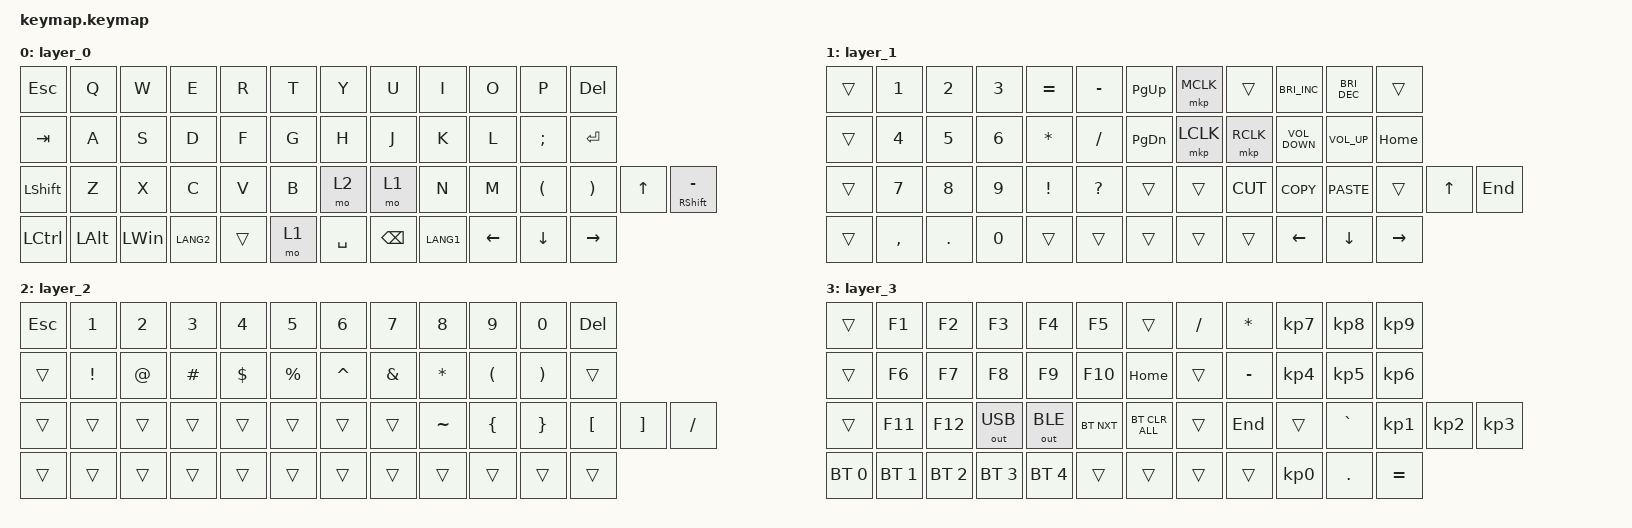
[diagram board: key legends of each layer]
#include <behaviors.dtsi>
#include <dt-bindings/zmk/bt.h>
#include <dt-bindings/zmk/keys.h>
#include <dt-bindings/zmk/outputs.h>
#include <dt-bindings/zmk/pointing.h>

/ {
    combos {
        compatible = "zmk,combos";

        bt_clear {
            bindings = <&bt BT_CLR>;
            key-positions = <28 29 11>;
            layers = <2>;
        };
    };

    keymap {
        compatible = "zmk,keymap";

        layer_0 {
            bindings = <
&kp ESC           &kp Q         &kp W         &kp E      &kp R   &kp T  &kp Y      &kp U          &kp I      &kp O           &kp P                 &kp DEL
&kp TAB           &kp A         &kp S         &kp D      &kp F   &kp G  &kp H      &kp J          &kp K      &kp L           &kp SEMI              &kp ENTER
&kp LSHFT         &kp Z         &kp X         &kp C      &kp V   &kp B  &mo 2      &mo 1          &kp N      &kp M           &kp LEFT_PARENTHESIS  &kp RIGHT_PARENTHESIS  &kp UP_ARROW  &mt RSHFT MINUS
&kp LEFT_CONTROL  &kp LEFT_ALT  &kp LEFT_WIN  &kp LANG2  &trans  &mo 1  &kp SPACE  &kp BACKSPACE  &kp LANG1  &kp LEFT_ARROW  &kp DOWN_ARROW        &kp RIGHT_ARROW
            >;
        };

        layer_1 {
            bindings = <
&trans  &kp NUMBER_1  &kp NUMBER_2  &kp NUMBER_3  &kp EQUAL        &kp MINUS     &kp PAGE_UP    &mkp MCLK  &trans     &kp C_BRIGHTNESS_INC  &kp C_BRIGHTNESS_DEC  &trans
&trans  &kp NUMBER_4  &kp N5        &kp NUMBER_6  &kp ASTERISK     &kp SLASH     &kp PAGE_DOWN  &mkp LCLK  &mkp RCLK  &kp C_VOLUME_DOWN     &kp C_VOLUME_UP       &kp HOME
&trans  &kp N7        &kp N8        &kp N9        &kp EXCLAMATION  &kp QUESTION  &trans         &trans     &kp K_CUT  &kp K_COPY            &kp K_PASTE           &trans     &kp UP  &kp END
&trans  &kp COMMA     &kp PERIOD    &kp NUMBER_0  &trans           &trans        &trans         &trans     &trans     &kp LEFT_ARROW        &kp DOWN_ARROW        &kp RIGHT
            >;
        };

        layer_2 {
            bindings = <
&kp ESCAPE  &kp N1    &kp N2  &kp N3    &kp N4      &kp N5     &kp N6     &kp N7         &kp N8     &kp N9                &kp N0                 &kp DELETE
&trans      &kp EXCL  &kp AT  &kp HASH  &kp DOLLAR  &kp PRCNT  &kp CARET  &kp AMPERSAND  &kp ASTRK  &kp LEFT_PARENTHESIS  &kp RIGHT_PARENTHESIS  &trans
&trans      &trans    &trans  &trans    &trans      &trans     &trans     &trans         &kp TILDE  &kp LEFT_BRACE        &kp RIGHT_BRACE        &kp LEFT_BRACKET  &kp RIGHT_BRACKET  &kp SLASH
&trans      &trans    &trans  &trans    &trans      &trans     &trans     &trans         &trans     &trans                &trans                 &trans
            >;
        };

        layer_3 {
            bindings = <
&trans        &kp F1        &kp F2        &kp F3        &kp F4        &kp F5      &trans          &kp FSLH  &kp ASTRK  &kp KP_NUMBER_7  &kp KP_NUMBER_8  &kp KP_NUMBER_9
&trans        &kp F6        &kp F7        &kp F8        &kp F9        &kp F10     &kp HOME        &trans    &kp MINUS  &kp KP_NUMBER_4  &kp KP_NUMBER_5  &kp KP_NUMBER_6
&trans        &kp F11       &kp F12       &out OUT_USB  &out OUT_BLE  &bt BT_NXT  &bt BT_CLR_ALL  &trans    &kp END    &trans           &kp GRAVE        &kp KP_NUMBER_1  &kp KP_NUMBER_2  &kp KP_NUMBER_3
&bt BT_SEL 0  &bt BT_SEL 1  &bt BT_SEL 2  &bt BT_SEL 3  &bt BT_SEL 4  &trans      &trans          &trans    &trans     &kp KP_NUMBER_0  &kp DOT          &kp EQUAL
            >;
        };
    };
};
